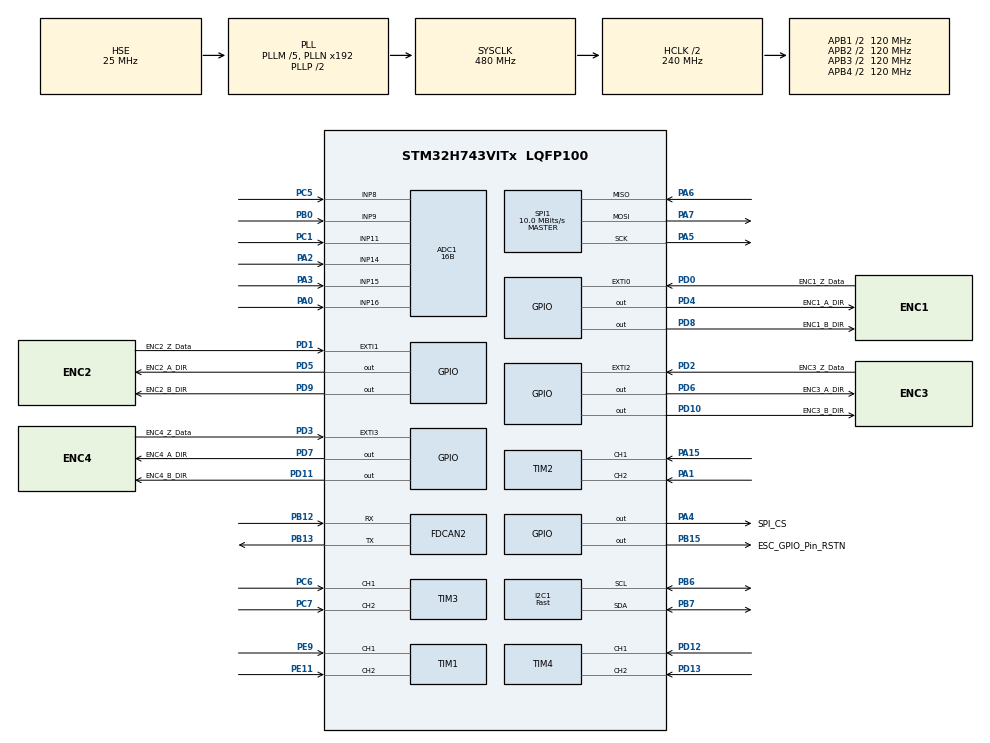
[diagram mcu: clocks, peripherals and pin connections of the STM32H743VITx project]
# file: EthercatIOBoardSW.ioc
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ADC1.Channel-1\#ChannelRegularConversion=ADC_CHANNEL_14
ADC1.Channel-10\#ChannelRegularConversion=ADC_CHANNEL_9
ADC1.Channel-11\#ChannelRegularConversion=ADC_CHANNEL_8
ADC1.Channel-7\#ChannelRegularConversion=ADC_CHANNEL_15
ADC1.Channel-8\#ChannelRegularConversion=ADC_CHANNEL_16
ADC1.Channel-9\#ChannelRegularConversion=ADC_CHANNEL_11
ADC1.ClockPrescaler=ADC_CLOCK_ASYNC_DIV8
ADC1.ContinuousConvMode=ENABLE
ADC1.ConversionDataManagement=ADC_CONVERSIONDATA_DR
ADC1.EOCSelection=ADC_EOC_SINGLE_CONV
ADC1.NbrOfConversion=6
ADC1.NbrOfConversionFlag=1
ADC1.OffsetNumber-1\#ChannelRegularConversion=ADC_OFFSET_NONE
ADC1.OffsetNumber-10\#ChannelRegularConversion=ADC_OFFSET_NONE
ADC1.OffsetNumber-11\#ChannelRegularConversion=ADC_OFFSET_NONE
ADC1.OffsetNumber-7\#ChannelRegularConversion=ADC_OFFSET_NONE
ADC1.OffsetNumber-8\#ChannelRegularConversion=ADC_OFFSET_NONE
ADC1.OffsetNumber-9\#ChannelRegularConversion=ADC_OFFSET_NONE
ADC1.OffsetSignedSaturation-1\#ChannelRegularConversion=DISABLE
ADC1.OffsetSignedSaturation-10\#ChannelRegularConversion=DISABLE
ADC1.OffsetSignedSaturation-11\#ChannelRegularConversion=DISABLE
ADC1.OffsetSignedSaturation-7\#ChannelRegularConversion=DISABLE
ADC1.OffsetSignedSaturation-8\#ChannelRegularConversion=DISABLE
ADC1.OffsetSignedSaturation-9\#ChannelRegularConversion=DISABLE
ADC1.Overrun=ADC_OVR_DATA_OVERWRITTEN
ADC1.OversamplingMode=DISABLE
ADC1.Rank-1\#ChannelRegularConversion=1
ADC1.Rank-10\#ChannelRegularConversion=5
ADC1.Rank-11\#ChannelRegularConversion=6
ADC1.Rank-7\#ChannelRegularConversion=2
ADC1.Rank-8\#ChannelRegularConversion=3
ADC1.Rank-9\#ChannelRegularConversion=4
ADC1.Ratio=1
ADC1.Resolution=ADC_RESOLUTION_16B
ADC1.SamplingTime-1\#ChannelRegularConversion=ADC_SAMPLETIME_32CYCLES_5
ADC1.SamplingTime-10\#ChannelRegularConversion=ADC_SAMPLETIME_32CYCLES_5
ADC1.SamplingTime-11\#ChannelRegularConversion=ADC_SAMPLETIME_32CYCLES_5
ADC1.SamplingTime-7\#ChannelRegularConversion=ADC_SAMPLETIME_32CYCLES_5
ADC1.SamplingTime-8\#ChannelRegularConversion=ADC_SAMPLETIME_32CYCLES_5
ADC1.SamplingTime-9\#ChannelRegularConversion=ADC_SAMPLETIME_32CYCLES_5
ADC1.master=1
Dma.ADC1.0.Direction=DMA_PERIPH_TO_MEMORY
Dma.ADC1.0.EventEnable=DISABLE
Dma.ADC1.0.FIFOMode=DMA_FIFOMODE_DISABLE
Dma.ADC1.0.Instance=DMA1_Stream0
Dma.ADC1.0.MemDataAlignment=DMA_MDATAALIGN_HALFWORD
Dma.ADC1.0.MemInc=DMA_MINC_ENABLE
Dma.ADC1.0.Mode=DMA_NORMAL
Dma.ADC1.0.PeriphDataAlignment=DMA_PDATAALIGN_HALFWORD
Dma.ADC1.0.PeriphInc=DMA_PINC_DISABLE
Dma.ADC1.0.Polarity=HAL_DMAMUX_REQ_GEN_RISING
Dma.ADC1.0.Priority=DMA_PRIORITY_LOW
Dma.ADC1.0.RequestNumber=1
Dma.ADC1.0.SignalID=NONE
Dma.ADC1.0.SyncEnable=DISABLE
Dma.ADC1.0.SyncPolarity=HAL_DMAMUX_SYNC_NO_EVENT
Dma.ADC1.0.SyncRequestNumber=1
Dma.ADC1.0.SyncSignalID=NONE
Dma.Request0=ADC1
FDCAN2.CalculateBaudRateNominal=1562500
FDCAN2.CalculateTimeBitNominal=640
FDCAN2.CalculateTimeQuantumNominal=213.33333333333334
I2C1.I2C_Speed_Mode=I2C_Fast
I2C1.Timing=0x00B03FDB
IWDG1.Prescaler=IWDG_PRESCALER_128
IWDG1.Reload=200
IWDG1.Window=200
Mcu.Family=STM32H7
Mcu.Name=STM32H743VITx
Mcu.Package=LQFP100
NVIC.ADC_IRQn=true\:8\:0\:true\:false\:true\:true\:true\:true
NVIC.DMA1_Stream0_IRQn=true\:0\:0\:false\:false\:true\:false\:true\:true
NVIC.EXTI0_IRQn=true\:4\:0\:true\:false\:true\:true\:true\:true
NVIC.EXTI1_IRQn=true\:4\:0\:true\:false\:true\:true\:true\:true
NVIC.EXTI2_IRQn=true\:4\:0\:true\:false\:true\:true\:true\:true
NVIC.EXTI3_IRQn=true\:4\:0\:true\:false\:true\:true\:true\:true
NVIC.I2C1_ER_IRQn=true\:3\:0\:true\:false\:true\:true\:true\:true
NVIC.I2C1_EV_IRQn=true\:3\:0\:true\:false\:true\:true\:true\:true
NVIC.PriorityGroup=NVIC_PRIORITYGROUP_4
NVIC.TIM16_IRQn=true\:0\:0\:false\:false\:true\:true\:true\:true
NVIC.TIM17_IRQn=true\:5\:0\:true\:false\:true\:true\:true\:true
PA0.Mode=IN16-Single-Ended
PA0.Signal=ADC1_INP16
PA1.Signal=S_TIM2_CH2
PA13\ (JTMS/SWDIO).Mode=Trace_Asynchronous_SW
PA13\ (JTMS/SWDIO).Signal=DEBUG_JTMS-SWDIO
PA14\ (JTCK/SWCLK).Mode=Trace_Asynchronous_SW
PA14\ (JTCK/SWCLK).Signal=DEBUG_JTCK-SWCLK
PA15\ (JTDI).Signal=S_TIM2_CH1_ETR
PA2.Signal=ADCx_INP14
PA3.Signal=ADCx_INP15
PA4.GPIO_Label=SPI_CS
PA4.Signal=GPIO_Output
PA5.Mode=Full_Duplex_Master
PA5.Signal=SPI1_SCK
PA6.Mode=Full_Duplex_Master
PA6.Signal=SPI1_MISO
PA7.Mode=Full_Duplex_Master
PA7.Signal=SPI1_MOSI
PB0.Signal=ADCx_INP9
PB12.Mode=FDCAN_Activate
PB12.Signal=FDCAN2_RX
PB13.Mode=FDCAN_Activate
PB13.Signal=FDCAN2_TX
PB15.GPIO_Label=ESC_GPIO_Pin_RSTN
PB15.Signal=GPIO_Output
PB3\ (JTDO/TRACESWO).Mode=Trace_Asynchronous_SW
PB3\ (JTDO/TRACESWO).Signal=DEBUG_JTDO-SWO
PB6.Mode=I2C
PB6.Signal=I2C1_SCL
PB7.Mode=I2C
PB7.Signal=I2C1_SDA
PC1.Signal=ADCx_INP11
PC5.Signal=ADCx_INP8
PC6.Signal=S_TIM3_CH1
PC7.Signal=S_TIM3_CH2
PD0.GPIO_Label=ENC1_Z_Data
PD0.GPIO_PuPd=GPIO_PULLDOWN
PD0.Signal=GPXTI0
PD1.GPIO_Label=ENC2_Z_Data
PD1.GPIO_PuPd=GPIO_PULLDOWN
PD1.Signal=GPXTI1
PD10.GPIO_Label=ENC3_B_DIR
PD10.PinState=GPIO_PIN_RESET
PD10.Signal=GPIO_Output
PD11.GPIO_Label=ENC4_B_DIR
PD11.PinState=GPIO_PIN_RESET
PD11.Signal=GPIO_Output
PD12.Signal=S_TIM4_CH1
PD13.Signal=S_TIM4_CH2
PD2.GPIO_Label=ENC3_Z_Data
PD2.GPIO_PuPd=GPIO_PULLDOWN
PD2.Signal=GPXTI2
PD3.GPIO_Label=ENC4_Z_Data
PD3.GPIO_PuPd=GPIO_PULLDOWN
PD3.Signal=GPXTI3
PD4.GPIO_Label=ENC1_A_DIR
PD4.PinState=GPIO_PIN_RESET
PD4.Signal=GPIO_Output
PD5.GPIO_Label=ENC2_A_DIR
PD5.PinState=GPIO_PIN_RESET
PD5.Signal=GPIO_Output
PD6.GPIO_Label=ENC3_A_DIR
PD6.PinState=GPIO_PIN_RESET
PD6.Signal=GPIO_Output
PD7.GPIO_Label=ENC4_A_DIR
PD7.PinState=GPIO_PIN_RESET
PD7.Signal=GPIO_Output
PD8.GPIO_Label=ENC1_B_DIR
PD8.PinState=GPIO_PIN_RESET
PD8.Signal=GPIO_Output
PD9.GPIO_Label=ENC2_B_DIR
PD9.PinState=GPIO_PIN_RESET
PD9.Signal=GPIO_Output
PE11.Signal=S_TIM1_CH2
PE9.Signal=S_TIM1_CH1
PH0-OSC_IN\ (PH0).Mode=HSE-External-Oscillator
PH0-OSC_IN\ (PH0).Signal=RCC_OSC_IN
PH1-OSC_OUT\ (PH1).Mode=HSE-External-Oscillator
PH1-OSC_OUT\ (PH1).Signal=RCC_OSC_OUT
ProjectManager.HeapSize=0x200
ProjectManager.StackSize=0x400
ProjectManager.TargetToolchain=STM32CubeIDE
RCC.ADCCLockSelection=RCC_ADCCLKSOURCE_PLL3
RCC.ADCFreq_Value=16000000
RCC.APB1Freq_Value=120000000
RCC.APB2Freq_Value=120000000
RCC.APB3Freq_Value=120000000
RCC.APB4Freq_Value=120000000
RCC.CortexFreq_Value=480000000
RCC.D1PPRE=RCC_APB3_DIV2
RCC.D2PPRE1=RCC_APB1_DIV2
RCC.D2PPRE2=RCC_APB2_DIV2
RCC.D3PPRE=RCC_APB4_DIV2
RCC.DIVM1=5
RCC.DIVM2=2
RCC.DIVM3=5
RCC.DIVN1=192
RCC.DIVN2=12
RCC.DIVN3=32
RCC.DIVP3=5
RCC.DIVQ1=6
RCC.DIVR3=10
RCC.FDCANCLockSelection=RCC_FDCANCLKSOURCE_PLL2
RCC.HCLKFreq_Value=240000000
RCC.HPRE=RCC_HCLK_DIV2
RCC.PLL2FRACN=0
RCC.PLL3FRACN=0
RCC.PLLFRACN=0
RCC.PLLSourceVirtual=RCC_PLLSOURCE_HSE
RCC.SYSCLKFreq_VALUE=480000000
RCC.SYSCLKSource=RCC_SYSCLKSOURCE_PLLCLK
RCC.USBFreq_Value=160000000
SH.ADCx_INP11.0=ADC1_INP11,IN11-Single-Ended
SH.ADCx_INP14.0=ADC1_INP14,IN14-Single-Ended
SH.ADCx_INP15.0=ADC1_INP15,IN15-Single-Ended
SH.ADCx_INP8.0=ADC1_INP8,IN8-Single-Ended
SH.ADCx_INP9.0=ADC1_INP9,IN9-Single-Ended
SH.S_TIM1_CH1.0=TIM1_CH1,Encoder_Interface
SH.S_TIM1_CH2.0=TIM1_CH2,Encoder_Interface
SH.S_TIM2_CH1_ETR.0=TIM2_CH1,Encoder_Interface
SH.S_TIM2_CH2.0=TIM2_CH2,Encoder_Interface
SH.S_TIM3_CH1.0=TIM3_CH1,Encoder_Interface
SH.S_TIM3_CH2.0=TIM3_CH2,Encoder_Interface
SH.S_TIM4_CH1.0=TIM4_CH1,Encoder_Interface
SH.S_TIM4_CH2.0=TIM4_CH2,Encoder_Interface
SPI1.BaudRatePrescaler=SPI_BAUDRATEPRESCALER_16
SPI1.CLKPhase=SPI_PHASE_2EDGE
SPI1.CLKPolarity=SPI_POLARITY_HIGH
SPI1.CalculateBaudRate=10.0 MBits/s
SPI1.DataSize=SPI_DATASIZE_8BIT
SPI1.Direction=SPI_DIRECTION_2LINES
SPI1.Mode=SPI_MODE_MASTER
SPI1.NSSPMode=SPI_NSS_PULSE_ENABLE
SPI1.VirtualType=VM_MASTER
TIM1.AutoReloadPreload=TIM_AUTORELOAD_PRELOAD_ENABLE
TIM1.IC1Filter=10
TIM1.IC2Filter=10
TIM16.Period=11999
TIM17.AutoReloadPreload=TIM_AUTORELOAD_PRELOAD_DISABLE
TIM17.Period=23999
TIM2.AutoReloadPreload=TIM_AUTORELOAD_PRELOAD_ENABLE
TIM2.IC1Filter=10
TIM2.IC2Filter=10
TIM3.AutoReloadPreload=TIM_AUTORELOAD_PRELOAD_ENABLE
TIM3.IC1Filter=10
TIM3.IC2Filter=10
TIM4.AutoReloadPreload=TIM_AUTORELOAD_PRELOAD_ENABLE
TIM4.IC1Filter=10
TIM4.IC2Filter=10
VP_IWDG1_VS_IWDG.Mode=IWDG_Activate
VP_MEMORYMAP_VS_MEMORYMAP.Mode=CurAppReg
VP_TIM16_VS_ClockSourceINT.Mode=Enable_Timer
VP_TIM17_VS_ClockSourceINT.Mode=Enable_Timer
VREF+.Mode=InternalMode
VREF+.Signal=VREFBUF_OUT
board=custom

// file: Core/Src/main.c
/* USER CODE BEGIN Header */
/**
  ******************************************************************************
  * @file           : main.c
  * @brief          : Main program body
  ******************************************************************************
  * @attention
  *
  * Copyright (c) 2024 STMicroelectronics.
  * All rights reserved.
  *
  * This software is licensed under terms that can be found in the LICENSE file
  * in the root directory of this software component.
  * If no LICENSE file comes with this software, it is provided AS-IS.
  *
  ******************************************************************************
  */
/* USER CODE END Header */
#include "main.h"

/* USER CODE BEGIN Includes */
#include "ecat_slv.h"
#include "utypes.h"
#include "esc.h"
#include "stdbool.h"
#include <string.h>
/* USER CODE END Includes */

/* USER CODE BEGIN PM */
#define INPUT_REG     0x00
#define OUTPUT_REG    0x02
#define POLARITY_REG  0x04
#define DIRECTION_REG 0x06
/* USER CODE END PM */

ADC_HandleTypeDef hadc1;
DMA_HandleTypeDef hdma_adc1;

FDCAN_HandleTypeDef hfdcan2;

I2C_HandleTypeDef hi2c1;

IWDG_HandleTypeDef hiwdg1;

SPI_HandleTypeDef hspi1;

TIM_HandleTypeDef htim1;
TIM_HandleTypeDef htim2;
TIM_HandleTypeDef htim3;
TIM_HandleTypeDef htim4;
TIM_HandleTypeDef htim16;
TIM_HandleTypeDef htim17;

/* USER CODE BEGIN PV */

_Objects Obj; // Ethercat data

void disableAllOutputs();
void stateChangeHook(uint8_t* applicationState, uint8_t* applicationError);

static esc_cfg_t config =
    {
        .user_arg = NULL,
        .use_interrupt = 0,
        .watchdog_cnt = 150,
        .set_defaults_hook = NULL,
        .pre_state_change_hook = NULL,
        .post_state_change_hook = stateChangeHook,
        .application_hook = NULL,
        .safeoutput_override = disableAllOutputs,
        .pre_object_download_hook = NULL,
        .post_object_download_hook = NULL,
        .rxpdo_override = NULL,
        .txpdo_override = NULL,
        .esc_hw_interrupt_enable = NULL,
        .esc_hw_interrupt_disable = NULL,
        .esc_hw_eep_handler = NULL,
        .esc_check_dc_handler = NULL,
};

// IO VARS:
uint8_t inputExpanders[]  = {0x20<<1, 0x24<<1, 0x22<<1};
uint16_t inputData[3];

uint8_t outputExpanders[] = {0x25<<1, 0x21<<1, 0x26<<1};
uint16_t outputData[3] = {0};
uint16_t newOutputData[3] = {0};

// ADC VARS:
uint16_t adcVal[6];

int32_t encoderValues[4];

// STATE VARS:
volatile bool isInOp = false;
volatile bool updateEthercat = false;

const uint32_t timeout = 200;

/* USER CODE END PV */

void SystemClock_Config(void);
static void MX_GPIO_Init(void);
static void MX_DMA_Init(void);
static void MX_FDCAN2_Init(void);
static void MX_SPI1_Init(void);
static void MX_TIM1_Init(void);
static void MX_TIM2_Init(void);
static void MX_TIM3_Init(void);
static void MX_TIM4_Init(void);
static void MX_I2C1_Init(void);
static void MX_ADC1_Init(void);
static void MX_IWDG1_Init(void);
static void MX_TIM16_Init(void);
static void MX_TIM17_Init(void);

int main(void)
{

  /* MCU Configuration--------------------------------------------------------*/

  /* Reset of all peripherals, Initializes the Flash interface and the Systick. */
  HAL_Init();

  /* Configure the system clock */
  SystemClock_Config();

  /* Initialize all configured peripherals */
  MX_GPIO_Init();
  MX_DMA_Init();
  MX_FDCAN2_Init();
  MX_SPI1_Init();
  MX_TIM1_Init();
  MX_TIM2_Init();
  MX_TIM3_Init();
  MX_TIM4_Init();
  MX_I2C1_Init();
  MX_ADC1_Init();
  MX_IWDG1_Init();
  MX_TIM16_Init();
  MX_TIM17_Init();
  /* USER CODE BEGIN 2 */
  ecat_slv_init(&config);

  // Start the encoders
  HAL_TIM_Encoder_Start(&htim1, TIM_CHANNEL_ALL);
  HAL_TIM_Encoder_Start(&htim2, TIM_CHANNEL_ALL);
  HAL_TIM_Encoder_Start(&htim3, TIM_CHANNEL_ALL);
  HAL_TIM_Encoder_Start(&htim4, TIM_CHANNEL_ALL);

  // update ethercat data with 10kHz
  HAL_TIM_Base_Start_IT(&htim16);

  // configure the IO Expanders as in/outputs
  uint8_t allOnes[]  = {0xFF, 0xFF};
  uint8_t allZeros[] = {0x00, 0x00};
  for(uint8_t i = 0; i < 3; i++)
  {
	  // can't write 4 regs at once. not sure why
	  HAL_I2C_Mem_Write(&hi2c1, inputExpanders[i], DIRECTION_REG, 1, allOnes, 2, 100);
	  HAL_I2C_Mem_Write(&hi2c1, inputExpanders[i], POLARITY_REG, 1, allZeros, 2, 100);

	  HAL_I2C_Mem_Write(&hi2c1, outputExpanders[i], OUTPUT_REG, 1, allZeros, 2, 100);
	  HAL_I2C_Mem_Write(&hi2c1, outputExpanders[i], POLARITY_REG, 1, allZeros, 2, 100);
	  HAL_I2C_Mem_Write(&hi2c1, outputExpanders[i], DIRECTION_REG, 1, allZeros, 2, 100);

  }

  HAL_ADC_Start_IT(&hadc1);

  /* USER CODE END 2 */

  /* Infinite loop */
  /* USER CODE BEGIN WHILE */
  while (1)
  {

// needed when using sync. But for IOs sync is really not needed.
//	  uint64_t dTime;
//	 if (serveIRQ)
//	 {
//		DIG_process(DIG_PROCESS_WD_FLAG | DIG_PROCESS_OUTPUTS_FLAG |
//					DIG_PROCESS_APP_HOOK_FLAG | DIG_PROCESS_INPUTS_FLAG);
//		serveIRQ = 0;
//		ESCvar.PrevTime = ESCvar.Time;
//		ecat_slv_poll();
//

	  if (updateEthercat)
	  {
		HAL_IWDG_Refresh(&hiwdg1);
		ecat_slv();
		updateEthercat = false;
		 for(uint8_t i = 0; i < 3; i++)
		 {
			 HAL_I2C_Mem_Read(&hi2c1, inputExpanders[i], INPUT_REG, 1, (uint8_t*)&inputData[i], 2, 100);
			 if(newOutputData[i] != outputData[i] && isInOp)
			 {
				 HAL_I2C_Mem_Write(&hi2c1, outputExpanders[i], OUTPUT_REG, 1, (uint8_t*)&newOutputData[i], 2, 100);
				 outputData[i] = newOutputData[i];
			 }
		 }
	  }

    /* USER CODE END WHILE */

  }
}

void SystemClock_Config(void)
{
  RCC_OscInitTypeDef RCC_OscInitStruct = {0};
  RCC_ClkInitTypeDef RCC_ClkInitStruct = {0};

  /** Supply configuration update enable
  */
  HAL_PWREx_ConfigSupply(PWR_LDO_SUPPLY);

  /** Configure the main internal regulator output voltage
  */
  __HAL_PWR_VOLTAGESCALING_CONFIG(PWR_REGULATOR_VOLTAGE_SCALE0);

  while(!__HAL_PWR_GET_FLAG(PWR_FLAG_VOSRDY)) {}

  /** Initializes the RCC Oscillators according to the specified parameters
  * in the RCC_OscInitTypeDef structure.
  */
  RCC_OscInitStruct.OscillatorType = RCC_OSCILLATORTYPE_LSI|RCC_OSCILLATORTYPE_HSE;
  RCC_OscInitStruct.HSEState = RCC_HSE_ON;
  RCC_OscInitStruct.LSIState = RCC_LSI_ON;
  RCC_OscInitStruct.PLL.PLLState = RCC_PLL_ON;
  RCC_OscInitStruct.PLL.PLLSource = RCC_PLLSOURCE_HSE;
  RCC_OscInitStruct.PLL.PLLM = 5;
  RCC_OscInitStruct.PLL.PLLN = 192;
  RCC_OscInitStruct.PLL.PLLP = 2;
  RCC_OscInitStruct.PLL.PLLQ = 6;
  RCC_OscInitStruct.PLL.PLLR = 2;
  RCC_OscInitStruct.PLL.PLLRGE = RCC_PLL1VCIRANGE_2;
  RCC_OscInitStruct.PLL.PLLVCOSEL = RCC_PLL1VCOWIDE;
  RCC_OscInitStruct.PLL.PLLFRACN = 0;
  if (HAL_RCC_OscConfig(&RCC_OscInitStruct) != HAL_OK)
  {
    Error_Handler();
  }

  /** Initializes the CPU, AHB and APB buses clocks
  */
  RCC_ClkInitStruct.ClockType = RCC_CLOCKTYPE_HCLK|RCC_CLOCKTYPE_SYSCLK
                              |RCC_CLOCKTYPE_PCLK1|RCC_CLOCKTYPE_PCLK2
                              |RCC_CLOCKTYPE_D3PCLK1|RCC_CLOCKTYPE_D1PCLK1;
  RCC_ClkInitStruct.SYSCLKSource = RCC_SYSCLKSOURCE_PLLCLK;
  RCC_ClkInitStruct.SYSCLKDivider = RCC_SYSCLK_DIV1;
  RCC_ClkInitStruct.AHBCLKDivider = RCC_HCLK_DIV2;
  RCC_ClkInitStruct.APB3CLKDivider = RCC_APB3_DIV2;
  RCC_ClkInitStruct.APB1CLKDivider = RCC_APB1_DIV2;
  RCC_ClkInitStruct.APB2CLKDivider = RCC_APB2_DIV2;
  RCC_ClkInitStruct.APB4CLKDivider = RCC_APB4_DIV2;

  if (HAL_RCC_ClockConfig(&RCC_ClkInitStruct, FLASH_LATENCY_4) != HAL_OK)
  {
    Error_Handler();
  }
}

static void MX_ADC1_Init(void)
{

  ADC_MultiModeTypeDef multimode = {0};
  ADC_ChannelConfTypeDef sConfig = {0};

  /** Common config
  */
  hadc1.Instance = ADC1;
  hadc1.Init.ClockPrescaler = ADC_CLOCK_ASYNC_DIV8;
  hadc1.Init.Resolution = ADC_RESOLUTION_16B;
  hadc1.Init.ScanConvMode = ADC_SCAN_ENABLE;
  hadc1.Init.EOCSelection = ADC_EOC_SINGLE_CONV;
  hadc1.Init.LowPowerAutoWait = DISABLE;
  hadc1.Init.ContinuousConvMode = ENABLE;
  hadc1.Init.NbrOfConversion = 6;
  hadc1.Init.DiscontinuousConvMode = DISABLE;
  hadc1.Init.ExternalTrigConv = ADC_SOFTWARE_START;
  hadc1.Init.ExternalTrigConvEdge = ADC_EXTERNALTRIGCONVEDGE_NONE;
  hadc1.Init.ConversionDataManagement = ADC_CONVERSIONDATA_DR;
  hadc1.Init.Overrun = ADC_OVR_DATA_OVERWRITTEN;
  hadc1.Init.LeftBitShift = ADC_LEFTBITSHIFT_NONE;
  hadc1.Init.OversamplingMode = DISABLE;
  hadc1.Init.Oversampling.Ratio = 1;
  if (HAL_ADC_Init(&hadc1) != HAL_OK)
  {
    Error_Handler();
  }

  /** Configure the ADC multi-mode
  */
  multimode.Mode = ADC_MODE_INDEPENDENT;
  if (HAL_ADCEx_MultiModeConfigChannel(&hadc1, &multimode) != HAL_OK)
  {
    Error_Handler();
  }

  /** Configure Regular Channel
  */
  sConfig.Channel = ADC_CHANNEL_14;
  sConfig.Rank = ADC_REGULAR_RANK_1;
  sConfig.SamplingTime = ADC_SAMPLETIME_32CYCLES_5;
  sConfig.SingleDiff = ADC_SINGLE_ENDED;
  sConfig.OffsetNumber = ADC_OFFSET_NONE;
  sConfig.Offset = 0;
  sConfig.OffsetSignedSaturation = DISABLE;
  if (HAL_ADC_ConfigChannel(&hadc1, &sConfig) != HAL_OK)
  {
    Error_Handler();
  }

  /** Configure Regular Channel
  */
  sConfig.Channel = ADC_CHANNEL_15;
  sConfig.Rank = ADC_REGULAR_RANK_2;
  if (HAL_ADC_ConfigChannel(&hadc1, &sConfig) != HAL_OK)
  {
    Error_Handler();
  }

  /** Configure Regular Channel
  */
  sConfig.Channel = ADC_CHANNEL_16;
  sConfig.Rank = ADC_REGULAR_RANK_3;
  if (HAL_ADC_ConfigChannel(&hadc1, &sConfig) != HAL_OK)
  {
    Error_Handler();
  }

  /** Configure Regular Channel
  */
  sConfig.Channel = ADC_CHANNEL_11;
  sConfig.Rank = ADC_REGULAR_RANK_4;
  if (HAL_ADC_ConfigChannel(&hadc1, &sConfig) != HAL_OK)
  {
    Error_Handler();
  }

  /** Configure Regular Channel
  */
  sConfig.Channel = ADC_CHANNEL_9;
  sConfig.Rank = ADC_REGULAR_RANK_5;
  if (HAL_ADC_ConfigChannel(&hadc1, &sConfig) != HAL_OK)
  {
    Error_Handler();
  }

  /** Configure Regular Channel
  */
  sConfig.Channel = ADC_CHANNEL_8;
  sConfig.Rank = ADC_REGULAR_RANK_6;
  if (HAL_ADC_ConfigChannel(&hadc1, &sConfig) != HAL_OK)
  {
    Error_Handler();
  }

}

static void MX_FDCAN2_Init(void)
{

  hfdcan2.Instance = FDCAN2;
  hfdcan2.Init.FrameFormat = FDCAN_FRAME_CLASSIC;
  hfdcan2.Init.Mode = FDCAN_MODE_NORMAL;
  hfdcan2.Init.AutoRetransmission = DISABLE;
  hfdcan2.Init.TransmitPause = DISABLE;
  hfdcan2.Init.ProtocolException = DISABLE;
  hfdcan2.Init.NominalPrescaler = 16;
  hfdcan2.Init.NominalSyncJumpWidth = 1;
  hfdcan2.Init.NominalTimeSeg1 = 1;
  hfdcan2.Init.NominalTimeSeg2 = 1;
  hfdcan2.Init.DataPrescaler = 1;
  hfdcan2.Init.DataSyncJumpWidth = 1;
  hfdcan2.Init.DataTimeSeg1 = 1;
  hfdcan2.Init.DataTimeSeg2 = 1;
  hfdcan2.Init.MessageRAMOffset = 0;
  hfdcan2.Init.StdFiltersNbr = 0;
  hfdcan2.Init.ExtFiltersNbr = 0;
  hfdcan2.Init.RxFifo0ElmtsNbr = 0;
  hfdcan2.Init.RxFifo0ElmtSize = FDCAN_DATA_BYTES_8;
  hfdcan2.Init.RxFifo1ElmtsNbr = 0;
  hfdcan2.Init.RxFifo1ElmtSize = FDCAN_DATA_BYTES_8;
  hfdcan2.Init.RxBuffersNbr = 0;
  hfdcan2.Init.RxBufferSize = FDCAN_DATA_BYTES_8;
  hfdcan2.Init.TxEventsNbr = 0;
  hfdcan2.Init.TxBuffersNbr = 0;
  hfdcan2.Init.TxFifoQueueElmtsNbr = 0;
  hfdcan2.Init.TxFifoQueueMode = FDCAN_TX_FIFO_OPERATION;
  hfdcan2.Init.TxElmtSize = FDCAN_DATA_BYTES_8;
  if (HAL_FDCAN_Init(&hfdcan2) != HAL_OK)
  {
    Error_Handler();
  }

}

static void MX_I2C1_Init(void)
{

  hi2c1.Instance = I2C1;
  hi2c1.Init.Timing = 0x00B03FDB;
  hi2c1.Init.OwnAddress1 = 0;
  hi2c1.Init.AddressingMode = I2C_ADDRESSINGMODE_7BIT;
  hi2c1.Init.DualAddressMode = I2C_DUALADDRESS_DISABLE;
  hi2c1.Init.OwnAddress2 = 0;
  hi2c1.Init.OwnAddress2Masks = I2C_OA2_NOMASK;
  hi2c1.Init.GeneralCallMode = I2C_GENERALCALL_DISABLE;
  hi2c1.Init.NoStretchMode = I2C_NOSTRETCH_DISABLE;
  if (HAL_I2C_Init(&hi2c1) != HAL_OK)
  {
    Error_Handler();
  }

  /** Configure Analogue filter
  */
  if (HAL_I2CEx_ConfigAnalogFilter(&hi2c1, I2C_ANALOGFILTER_ENABLE) != HAL_OK)
  {
    Error_Handler();
  }

  /** Configure Digital filter
  */
  if (HAL_I2CEx_ConfigDigitalFilter(&hi2c1, 0) != HAL_OK)
  {
    Error_Handler();
  }

}

static void MX_IWDG1_Init(void)
{

  hiwdg1.Instance = IWDG1;
  hiwdg1.Init.Prescaler = IWDG_PRESCALER_128;
  hiwdg1.Init.Window = 200;
  hiwdg1.Init.Reload = 200;
  if (HAL_IWDG_Init(&hiwdg1) != HAL_OK)
  {
    Error_Handler();
  }

}

static void MX_SPI1_Init(void)
{

  /* SPI1 parameter configuration*/
  hspi1.Instance = SPI1;
  hspi1.Init.Mode = SPI_MODE_MASTER;
  hspi1.Init.Direction = SPI_DIRECTION_2LINES;
  hspi1.Init.DataSize = SPI_DATASIZE_8BIT;
  hspi1.Init.CLKPolarity = SPI_POLARITY_HIGH;
  hspi1.Init.CLKPhase = SPI_PHASE_2EDGE;
  hspi1.Init.NSS = SPI_NSS_SOFT;
  hspi1.Init.BaudRatePrescaler = SPI_BAUDRATEPRESCALER_16;
  hspi1.Init.FirstBit = SPI_FIRSTBIT_MSB;
  hspi1.Init.TIMode = SPI_TIMODE_DISABLE;
  hspi1.Init.CRCCalculation = SPI_CRCCALCULATION_DISABLE;
  hspi1.Init.CRCPolynomial = 0x0;
  hspi1.Init.NSSPMode = SPI_NSS_PULSE_ENABLE;
  hspi1.Init.NSSPolarity = SPI_NSS_POLARITY_LOW;
  hspi1.Init.FifoThreshold = SPI_FIFO_THRESHOLD_01DATA;
  hspi1.Init.TxCRCInitializationPattern = SPI_CRC_INITIALIZATION_ALL_ZERO_PATTERN;
  hspi1.Init.RxCRCInitializationPattern = SPI_CRC_INITIALIZATION_ALL_ZERO_PATTERN;
  hspi1.Init.MasterSSIdleness = SPI_MASTER_SS_IDLENESS_00CYCLE;
  hspi1.Init.MasterInterDataIdleness = SPI_MASTER_INTERDATA_IDLENESS_00CYCLE;
  hspi1.Init.MasterReceiverAutoSusp = SPI_MASTER_RX_AUTOSUSP_DISABLE;
  hspi1.Init.MasterKeepIOState = SPI_MASTER_KEEP_IO_STATE_DISABLE;
  hspi1.Init.IOSwap = SPI_IO_SWAP_DISABLE;
  if (HAL_SPI_Init(&hspi1) != HAL_OK)
  {
    Error_Handler();
  }

}

static void MX_TIM1_Init(void)
{

  TIM_Encoder_InitTypeDef sConfig = {0};
  TIM_MasterConfigTypeDef sMasterConfig = {0};

  htim1.Instance = TIM1;
  htim1.Init.Prescaler = 0;
  htim1.Init.CounterMode = TIM_COUNTERMODE_UP;
  htim1.Init.Period = 65535;
  htim1.Init.ClockDivision = TIM_CLOCKDIVISION_DIV1;
  htim1.Init.RepetitionCounter = 0;
  htim1.Init.AutoReloadPreload = TIM_AUTORELOAD_PRELOAD_ENABLE;
  sConfig.EncoderMode = TIM_ENCODERMODE_TI1;
  sConfig.IC1Polarity = TIM_ICPOLARITY_RISING;
  sConfig.IC1Selection = TIM_ICSELECTION_DIRECTTI;
  sConfig.IC1Prescaler = TIM_ICPSC_DIV1;
  sConfig.IC1Filter = 10;
  sConfig.IC2Polarity = TIM_ICPOLARITY_RISING;
  sConfig.IC2Selection = TIM_ICSELECTION_DIRECTTI;
  sConfig.IC2Prescaler = TIM_ICPSC_DIV1;
  sConfig.IC2Filter = 10;
  if (HAL_TIM_Encoder_Init(&htim1, &sConfig) != HAL_OK)
  {
    Error_Handler();
  }
  sMasterConfig.MasterOutputTrigger = TIM_TRGO_RESET;
  sMasterConfig.MasterOutputTrigger2 = TIM_TRGO2_RESET;
  sMasterConfig.MasterSlaveMode = TIM_MASTERSLAVEMODE_DISABLE;
  if (HAL_TIMEx_MasterConfigSynchronization(&htim1, &sMasterConfig) != HAL_OK)
  {
    Error_Handler();
  }

}

static void MX_TIM2_Init(void)
{

  TIM_Encoder_InitTypeDef sConfig = {0};
  TIM_MasterConfigTypeDef sMasterConfig = {0};

  htim2.Instance = TIM2;
  htim2.Init.Prescaler = 0;
  htim2.Init.CounterMode = TIM_COUNTERMODE_UP;
  htim2.Init.Period = 4294967295;
  htim2.Init.ClockDivision = TIM_CLOCKDIVISION_DIV1;
  htim2.Init.AutoReloadPreload = TIM_AUTORELOAD_PRELOAD_ENABLE;
  sConfig.EncoderMode = TIM_ENCODERMODE_TI1;
  sConfig.IC1Polarity = TIM_ICPOLARITY_RISING;
  sConfig.IC1Selection = TIM_ICSELECTION_DIRECTTI;
  sConfig.IC1Prescaler = TIM_ICPSC_DIV1;
  sConfig.IC1Filter = 10;
  sConfig.IC2Polarity = TIM_ICPOLARITY_RISING;
  sConfig.IC2Selection = TIM_ICSELECTION_DIRECTTI;
  sConfig.IC2Prescaler = TIM_ICPSC_DIV1;
  sConfig.IC2Filter = 10;
  if (HAL_TIM_Encoder_Init(&htim2, &sConfig) != HAL_OK)
  {
    Error_Handler();
  }
  sMasterConfig.MasterOutputTrigger = TIM_TRGO_RESET;
  sMasterConfig.MasterSlaveMode = TIM_MASTERSLAVEMODE_DISABLE;
  if (HAL_TIMEx_MasterConfigSynchronization(&htim2, &sMasterConfig) != HAL_OK)
  {
    Error_Handler();
  }

}

static void MX_TIM3_Init(void)
{

  TIM_Encoder_InitTypeDef sConfig = {0};
  TIM_MasterConfigTypeDef sMasterConfig = {0};

  htim3.Instance = TIM3;
  htim3.Init.Prescaler = 0;
  htim3.Init.CounterMode = TIM_COUNTERMODE_UP;
  htim3.Init.Period = 65535;
  htim3.Init.ClockDivision = TIM_CLOCKDIVISION_DIV1;
  htim3.Init.AutoReloadPreload = TIM_AUTORELOAD_PRELOAD_ENABLE;
  sConfig.EncoderMode = TIM_ENCODERMODE_TI1;
  sConfig.IC1Polarity = TIM_ICPOLARITY_RISING;
  sConfig.IC1Selection = TIM_ICSELECTION_DIRECTTI;
  sConfig.IC1Prescaler = TIM_ICPSC_DIV1;
  sConfig.IC1Filter = 10;
  sConfig.IC2Polarity = TIM_ICPOLARITY_RISING;
  sConfig.IC2Selection = TIM_ICSELECTION_DIRECTTI;
  sConfig.IC2Prescaler = TIM_ICPSC_DIV1;
  sConfig.IC2Filter = 10;
  if (HAL_TIM_Encoder_Init(&htim3, &sConfig) != HAL_OK)
  {
    Error_Handler();
  }
  sMasterConfig.MasterOutputTrigger = TIM_TRGO_RESET;
  sMasterConfig.MasterSlaveMode = TIM_MASTERSLAVEMODE_DISABLE;
  if (HAL_TIMEx_MasterConfigSynchronization(&htim3, &sMasterConfig) != HAL_OK)
  {
    Error_Handler();
  }

}

static void MX_TIM4_Init(void)
{

  TIM_Encoder_InitTypeDef sConfig = {0};
  TIM_MasterConfigTypeDef sMasterConfig = {0};

  htim4.Instance = TIM4;
  htim4.Init.Prescaler = 0;
  htim4.Init.CounterMode = TIM_COUNTERMODE_UP;
  htim4.Init.Period = 65535;
  htim4.Init.ClockDivision = TIM_CLOCKDIVISION_DIV1;
  htim4.Init.AutoReloadPreload = TIM_AUTORELOAD_PRELOAD_ENABLE;
  sConfig.EncoderMode = TIM_ENCODERMODE_TI1;
  sConfig.IC1Polarity = TIM_ICPOLARITY_RISING;
  sConfig.IC1Selection = TIM_ICSELECTION_DIRECTTI;
  sConfig.IC1Prescaler = TIM_ICPSC_DIV1;
  sConfig.IC1Filter = 10;
  sConfig.IC2Polarity = TIM_ICPOLARITY_RISING;
  sConfig.IC2Selection = TIM_ICSELECTION_DIRECTTI;
  sConfig.IC2Prescaler = TIM_ICPSC_DIV1;
  sConfig.IC2Filter = 10;
  if (HAL_TIM_Encoder_Init(&htim4, &sConfig) != HAL_OK)
  {
    Error_Handler();
  }
  sMasterConfig.MasterOutputTrigger = TIM_TRGO_RESET;
  sMasterConfig.MasterSlaveMode = TIM_MASTERSLAVEMODE_DISABLE;
  if (HAL_TIMEx_MasterConfigSynchronization(&htim4, &sMasterConfig) != HAL_OK)
  {
    Error_Handler();
  }

}

static void MX_TIM16_Init(void)
{

  htim16.Instance = TIM16;
  htim16.Init.Prescaler = 0;
  htim16.Init.CounterMode = TIM_COUNTERMODE_UP;
  htim16.Init.Period = 11999;
  htim16.Init.ClockDivision = TIM_CLOCKDIVISION_DIV1;
  htim16.Init.RepetitionCounter = 0;
  htim16.Init.AutoReloadPreload = TIM_AUTORELOAD_PRELOAD_DISABLE;
  if (HAL_TIM_Base_Init(&htim16) != HAL_OK)
  {
    Error_Handler();
  }

}

static void MX_TIM17_Init(void)
{

  htim17.Instance = TIM17;
  htim17.Init.Prescaler = 0;
  htim17.Init.CounterMode = TIM_COUNTERMODE_UP;
  htim17.Init.Period = 23999;
  htim17.Init.ClockDivision = TIM_CLOCKDIVISION_DIV1;
  htim17.Init.RepetitionCounter = 0;
  htim17.Init.AutoReloadPreload = TIM_AUTORELOAD_PRELOAD_DISABLE;
  if (HAL_TIM_Base_Init(&htim17) != HAL_OK)
  {
    Error_Handler();
  }

}

static void MX_DMA_Init(void)
{

  /* DMA controller clock enable */
  __HAL_RCC_DMA1_CLK_ENABLE();

  /* DMA interrupt init */
  /* DMA1_Stream0_IRQn interrupt configuration */
  HAL_NVIC_SetPriority(DMA1_Stream0_IRQn, 0, 0);
  HAL_NVIC_EnableIRQ(DMA1_Stream0_IRQn);

}

static void MX_GPIO_Init(void)
{
  GPIO_InitTypeDef GPIO_InitStruct = {0};

  /* GPIO Ports Clock Enable */
  __HAL_RCC_GPIOH_CLK_ENABLE();
  __HAL_RCC_GPIOC_CLK_ENABLE();
  __HAL_RCC_GPIOA_CLK_ENABLE();
  __HAL_RCC_GPIOB_CLK_ENABLE();
  __HAL_RCC_GPIOE_CLK_ENABLE();
  __HAL_RCC_GPIOD_CLK_ENABLE();

  /*Configure GPIO pin Output Level */
  HAL_GPIO_WritePin(SPI_CS_GPIO_Port, SPI_CS_Pin, GPIO_PIN_RESET);

  /*Configure GPIO pin Output Level */
  HAL_GPIO_WritePin(ESC_GPIO_Pin_RSTN_GPIO_Port, ESC_GPIO_Pin_RSTN_Pin, GPIO_PIN_RESET);

  /*Configure GPIO pin Output Level */
  HAL_GPIO_WritePin(GPIOD, ENC1_B_DIR_Pin|ENC2_B_DIR_Pin|ENC3_B_DIR_Pin|ENC4_B_DIR_Pin
                          |ENC1_A_DIR_Pin|ENC2_A_DIR_Pin|ENC3_A_DIR_Pin|ENC4_A_DIR_Pin, GPIO_PIN_RESET);

  /*Configure GPIO pin : SPI_CS_Pin */
  GPIO_InitStruct.Pin = SPI_CS_Pin;
  GPIO_InitStruct.Mode = GPIO_MODE_OUTPUT_PP;
  GPIO_InitStruct.Pull = GPIO_NOPULL;
  GPIO_InitStruct.Speed = GPIO_SPEED_FREQ_LOW;
  HAL_GPIO_Init(SPI_CS_GPIO_Port, &GPIO_InitStruct);

  /*Configure GPIO pin : ESC_GPIO_Pin_RSTN_Pin */
  GPIO_InitStruct.Pin = ESC_GPIO_Pin_RSTN_Pin;
  GPIO_InitStruct.Mode = GPIO_MODE_OUTPUT_PP;
  GPIO_InitStruct.Pull = GPIO_NOPULL;
  GPIO_InitStruct.Speed = GPIO_SPEED_FREQ_LOW;
  HAL_GPIO_Init(ESC_GPIO_Pin_RSTN_GPIO_Port, &GPIO_InitStruct);

  /*Configure GPIO pins : ENC1_B_DIR_Pin ENC2_B_DIR_Pin ENC3_B_DIR_Pin ENC4_B_DIR_Pin
                           ENC1_A_DIR_Pin ENC2_A_DIR_Pin ENC3_A_DIR_Pin ENC4_A_DIR_Pin */
  GPIO_InitStruct.Pin = ENC1_B_DIR_Pin|ENC2_B_DIR_Pin|ENC3_B_DIR_Pin|ENC4_B_DIR_Pin
                          |ENC1_A_DIR_Pin|ENC2_A_DIR_Pin|ENC3_A_DIR_Pin|ENC4_A_DIR_Pin;
  GPIO_InitStruct.Mode = GPIO_MODE_OUTPUT_PP;
  GPIO_InitStruct.Pull = GPIO_NOPULL;
  GPIO_InitStruct.Speed = GPIO_SPEED_FREQ_LOW;
  HAL_GPIO_Init(GPIOD, &GPIO_InitStruct);

  /*Configure GPIO pins : ENC1_Z_Data_Pin ENC2_Z_Data_Pin ENC3_Z_Data_Pin ENC4_Z_Data_Pin */
  GPIO_InitStruct.Pin = ENC1_Z_Data_Pin|ENC2_Z_Data_Pin|ENC3_Z_Data_Pin|ENC4_Z_Data_Pin;
  GPIO_InitStruct.Mode = GPIO_MODE_IT_RISING;
  GPIO_InitStruct.Pull = GPIO_PULLDOWN;
  HAL_GPIO_Init(GPIOD, &GPIO_InitStruct);

  /* EXTI interrupt init*/
  HAL_NVIC_SetPriority(ENC1_Z_Data_EXTI_IRQn, 4, 0);
  HAL_NVIC_EnableIRQ(ENC1_Z_Data_EXTI_IRQn);

  HAL_NVIC_SetPriority(ENC2_Z_Data_EXTI_IRQn, 4, 0);
  HAL_NVIC_EnableIRQ(ENC2_Z_Data_EXTI_IRQn);

  HAL_NVIC_SetPriority(ENC3_Z_Data_EXTI_IRQn, 4, 0);
  HAL_NVIC_EnableIRQ(ENC3_Z_Data_EXTI_IRQn);

  HAL_NVIC_SetPriority(ENC4_Z_Data_EXTI_IRQn, 4, 0);
  HAL_NVIC_EnableIRQ(ENC4_Z_Data_EXTI_IRQn);

}

/* USER CODE BEGIN 4 */

void disableAllOutputs()
{
	memset(outputData, 0x00, sizeof(outputData));
	for(uint8_t i = 0; i < 3; i++)
	{
		HAL_I2C_Mem_Write(&hi2c1, outputExpanders[i], OUTPUT_REG, 1, (uint8_t*)&outputData[i], 2, 100);
	}
	isInOp = false;
}
void stateChangeHook(uint8_t* oldState, uint8_t* newState)
{
	if(*newState == ESCop)
	{
		isInOp = true;
	}

}

void cb_set_outputs(void) // Get Master outputs, slave inputs, first operation
{
	for(uint8_t i = 0; i < 3; i++)
	{
		newOutputData[i] = __RBIT(Obj.Outputs[i]) >> 16;
	}
}

void cb_get_inputs(void) // Set Master inputs, slave outputs, last operation
{
	for(uint8_t i = 0; i < 3; i++)
	{
		Obj.Inputs[i] = __RBIT(inputData[i]) >> 16;
	}

	for(uint8_t i = 0; i< 6; i++)
	{
		Obj.Analog[i] = adcVal[i];
	}
	// TODO: linuxcnc wants s32 values. Need to convert the values correctly. tim1/3/4 are only 16bit cnt registers. Need to keep track over the overlap manually.
  for (uint8_t i = 0; i < 4; i++)
    {
    Obj.Encoder[i] = encoderValues[i];
    }
}

/* USER CODE END 4 */

void Error_Handler(void)
{
  __disable_irq();
  while (1)
  {
  }
}
